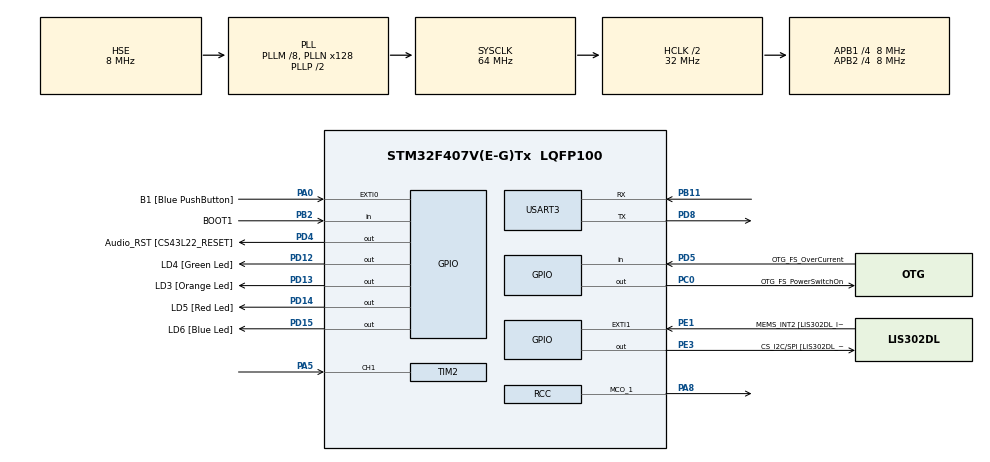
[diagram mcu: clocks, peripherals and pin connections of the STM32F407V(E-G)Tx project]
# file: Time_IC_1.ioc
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Mcu.Family=STM32F4
Mcu.Name=STM32F407V(E-G)Tx
Mcu.Package=LQFP100
NVIC.PriorityGroup=NVIC_PRIORITYGROUP_2
NVIC.TIM2_IRQn=true\:0\:0\:true\:true\:true\:2\:true\:true
NVIC.TIM6_DAC_IRQn=true\:0\:0\:true\:true\:true\:1\:true\:true
PA0-WKUP.GPIO_Label=B1 [Blue PushButton]
PA0-WKUP.Signal=GPXTI0
PA10.GPIO_Label=OTG_FS_ID
PA10.GPIO_Mode=GPIO_MODE_AF_PP
PA10.GPIO_PuPd=GPIO_NOPULL
PA10.GPIO_Speed=GPIO_SPEED_FREQ_LOW
PA10.Signal=USB_OTG_FS_ID
PA11.GPIO_Label=OTG_FS_DM
PA11.GPIO_Mode=GPIO_MODE_AF_PP
PA11.GPIO_PuPd=GPIO_NOPULL
PA11.GPIO_Speed=GPIO_SPEED_FREQ_LOW
PA11.Signal=USB_OTG_FS_DM
PA12.GPIO_Label=OTG_FS_DP
PA12.GPIO_Mode=GPIO_MODE_AF_PP
PA12.GPIO_PuPd=GPIO_NOPULL
PA12.GPIO_Speed=GPIO_SPEED_FREQ_LOW
PA12.Signal=USB_OTG_FS_DP
PA13.GPIO_Label=SWDIO
PA13.Signal=SYS_JTMS-SWDIO
PA14.GPIO_Label=SWCLK
PA14.Signal=SYS_JTCK-SWCLK
PA4.GPIO_Label=I2S3_WS [CS43L22_LRCK]
PA4.GPIO_Mode=GPIO_MODE_AF_PP
PA4.GPIO_PuPd=GPIO_NOPULL
PA4.GPIO_Speed=GPIO_SPEED_FREQ_LOW
PA4.Signal=I2S3_WS
PA5.Signal=S_TIM2_CH1_ETR
PA6.GPIO_Label=SPI1_MISO [LIS302DL_SDO]
PA6.GPIO_Mode=GPIO_MODE_AF_PP
PA6.GPIO_PuPd=GPIO_NOPULL
PA6.GPIO_Speed=GPIO_SPEED_FREQ_LOW
PA6.Signal=SPI1_MISO
PA7.GPIO_Label=SPI1_MOSI [LIS302DL_SDA/SDI/SDO]
PA7.GPIO_Mode=GPIO_MODE_AF_PP
PA7.GPIO_PuPd=GPIO_NOPULL
PA7.GPIO_Speed=GPIO_SPEED_FREQ_LOW
PA7.Signal=SPI1_MOSI
PA8.Mode=Clock-out-1
PA8.Signal=RCC_MCO_1
PA9.GPIO_Label=VBUS_FS
PA9.GPIO_Mode=GPIO_MODE_INPUT
PA9.GPIO_PuPd=GPIO_NOPULL
PA9.Signal=USB_OTG_FS_VBUS
PB10.GPIO_Label=CLK_IN [MP45DT02_CLK]
PB10.GPIO_Mode=GPIO_MODE_AF_PP
PB10.GPIO_PuPd=GPIO_NOPULL
PB10.GPIO_Speed=GPIO_SPEED_FREQ_LOW
PB10.Signal=I2S2_CK
PB11.Mode=Asynchronous
PB11.Signal=USART3_RX
PB2.GPIO_Label=BOOT1
PB2.GPIO_Mode=GPIO_MODE_INPUT
PB2.GPIO_PuPd=GPIO_NOPULL
PB2.Signal=GPIO_Input
PB3.GPIO_Label=SWO
PB3.Signal=SYS_JTDO-SWO
PB6.GPIO_Label=Audio_SCL [CS43L22_SCL]
PB6.GPIO_Mode=GPIO_MODE_AF_OD
PB6.GPIO_PuPd=GPIO_NOPULL
PB6.GPIO_Speed=GPIO_SPEED_FREQ_LOW
PB6.Signal=I2C1_SCL
PB9.GPIO_Label=Audio_SDA [CS43L22_SDA]
PB9.GPIO_Mode=GPIO_MODE_AF_OD
PB9.GPIO_PuPd=GPIO_NOPULL
PB9.GPIO_Speed=GPIO_SPEED_FREQ_LOW
PB9.Signal=I2C1_SDA
PC0.GPIO_Label=OTG_FS_PowerSwitchOn
PC0.GPIO_PuPd=GPIO_NOPULL
PC0.GPIO_Speed=GPIO_SPEED_FREQ_LOW
PC0.PinState=GPIO_PIN_SET
PC0.Signal=GPIO_Output
PC10.GPIO_Label=I2S3_SCK [CS43L22_SCLK]
PC10.GPIO_Mode=GPIO_MODE_AF_PP
PC10.GPIO_PuPd=GPIO_NOPULL
PC10.GPIO_Speed=GPIO_SPEED_FREQ_LOW
PC10.Signal=I2S3_CK
PC12.GPIO_Label=I2S3_SD [CS43L22_SDIN]
PC12.GPIO_Mode=GPIO_MODE_AF_PP
PC12.GPIO_PuPd=GPIO_NOPULL
PC12.GPIO_Speed=GPIO_SPEED_FREQ_LOW
PC12.Signal=I2S3_SD
PC14-OSC32_IN.GPIO_Label=PC14-OSC32_IN
PC14-OSC32_IN.Mode=LSE-External-Oscillator
PC14-OSC32_IN.Signal=RCC_OSC32_IN
PC15-OSC32_OUT.GPIO_Label=PC15-OSC32_OUT
PC15-OSC32_OUT.Mode=LSE-External-Oscillator
PC15-OSC32_OUT.Signal=RCC_OSC32_OUT
PC3.GPIO_Label=PDM_OUT [MP45DT02_DOUT]
PC3.GPIO_Mode=GPIO_MODE_AF_PP
PC3.GPIO_PuPd=GPIO_NOPULL
PC3.GPIO_Speed=GPIO_SPEED_FREQ_LOW
PC3.Signal=I2S2_SD
PC7.GPIO_Label=I2S3_MCK [CS43L22_MCLK]
PC7.GPIO_Mode=GPIO_MODE_AF_PP
PC7.GPIO_PuPd=GPIO_NOPULL
PC7.GPIO_Speed=GPIO_SPEED_FREQ_LOW
PC7.Signal=I2S3_MCK
PD12.GPIO_Label=LD4 [Green Led]
PD12.GPIO_PuPd=GPIO_NOPULL
PD12.GPIO_Speed=GPIO_SPEED_FREQ_LOW
PD12.Signal=GPIO_Output
PD13.GPIO_Label=LD3 [Orange Led]
PD13.GPIO_PuPd=GPIO_NOPULL
PD13.GPIO_Speed=GPIO_SPEED_FREQ_LOW
PD13.Signal=GPIO_Output
PD14.GPIO_Label=LD5 [Red Led]
PD14.GPIO_PuPd=GPIO_NOPULL
PD14.GPIO_Speed=GPIO_SPEED_FREQ_LOW
PD14.Signal=GPIO_Output
PD15.GPIO_Label=LD6 [Blue Led]
PD15.GPIO_PuPd=GPIO_NOPULL
PD15.GPIO_Speed=GPIO_SPEED_FREQ_LOW
PD15.Signal=GPIO_Output
PD4.GPIO_Label=Audio_RST [CS43L22_RESET]
PD4.GPIO_PuPd=GPIO_NOPULL
PD4.GPIO_Speed=GPIO_SPEED_FREQ_LOW
PD4.Signal=GPIO_Output
PD5.GPIO_Label=OTG_FS_OverCurrent
PD5.GPIO_Mode=GPIO_MODE_INPUT
PD5.GPIO_PuPd=GPIO_NOPULL
PD5.Signal=GPIO_Input
PD8.Mode=Asynchronous
PD8.Signal=USART3_TX
PE1.GPIO_Label=MEMS_INT2 [LIS302DL_INT2]
PE1.GPIO_ModeDefaultEXTI=GPIO_MODE_EVT_RISING
PE1.GPIO_PuPd=GPIO_NOPULL
PE1.Signal=GPXTI1
PE3.GPIO_Label=CS_I2C/SPI [LIS302DL_CS_I2C/SPI]
PE3.GPIO_PuPd=GPIO_NOPULL
PE3.GPIO_Speed=GPIO_SPEED_FREQ_LOW
PE3.Signal=GPIO_Output
PH0-OSC_IN.GPIO_Label=PH0-OSC_IN
PH0-OSC_IN.Mode=HSE-External-Oscillator
PH0-OSC_IN.Signal=RCC_OSC_IN
PH1-OSC_OUT.GPIO_Label=PH1-OSC_OUT
PH1-OSC_OUT.Mode=HSE-External-Oscillator
PH1-OSC_OUT.Signal=RCC_OSC_OUT
ProjectManager.HeapSize=0x200
ProjectManager.StackSize=0x400
ProjectManager.TargetToolchain=STM32CubeIDE
RCC.48MHZClocksFreq_Value=18285714.285714287
RCC.AHBCLKDivider=RCC_SYSCLK_DIV2
RCC.AHBFreq_Value=32000000
RCC.APB1CLKDivider=RCC_HCLK_DIV4
RCC.APB1Freq_Value=8000000
RCC.APB1TimFreq_Value=16000000
RCC.APB2CLKDivider=RCC_HCLK_DIV4
RCC.APB2Freq_Value=8000000
RCC.APB2TimFreq_Value=16000000
RCC.CortexFreq_Value=32000000
RCC.HCLKFreq_Value=32000000
RCC.HSE_VALUE=8000000
RCC.HSI_VALUE=16000000
RCC.PLLM=8
RCC.PLLN=128
RCC.PLLQ=7
RCC.PLLSourceVirtual=RCC_PLLSOURCE_HSE
RCC.RCC_MCO1Source=RCC_MCO1SOURCE_HSE
RCC.SYSCLKFreq_VALUE=64000000
RCC.SYSCLKSource=RCC_SYSCLKSOURCE_PLLCLK
RCC.VCOOutputFreq_Value=128000000
SH.S_TIM2_CH1_ETR.0=TIM2_CH1,Input_Capture1_from_TI1
TIM2.Channel-Input_Capture1_from_TI1=TIM_CHANNEL_1
TIM2.Period=0xFFFFFFFF
TIM6.Period=16665
TIM6.Prescaler=7
USART3.VirtualMode=VM_ASYNC
VP_TIM2_VS_ClockSourceINT.Mode=Internal
VP_TIM6_VS_ClockSourceINT.Mode=Enable_Timer
board=STM32F407G-DISC1

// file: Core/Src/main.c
/* USER CODE BEGIN Header */
/**
  ******************************************************************************
  * @file           : main.c
  * @brief          : Program configures and starts TIM6 in interrupt mode to generate a 60Hz signal on PD15 which can be connected to
  *					  PA5 to be received as TIM2_CH1 input channel which will calculate the frequency and send over USART3 to serial console
  *					  after every other IC capture callback event.
  *
  *					  LSE clock can be configured to be output on MCO1 (PA8) and measured by connecting to PA5.
  *					  HSE is configured by default and is too fast to be read by input channel.
  *
  *					  Connections
  *					  USART				STM32
  *					  RX		-->		PD8
  *					  5V		-->		5V
  *					  GND		-->		GND
  *
  *					  STM32				SMT32
  *					  PD15		-->		PA5
  *
  ******************************************************************************
  * @attention
  *
  * <h2><center>&copy; Copyright (c) 2020 STMicroelectronics.
  * All rights reserved.</center></h2>
  *
  * This software component is licensed by ST under BSD 3-Clause license,
  * the "License"; You may not use this file except in compliance with the
  * License. You may obtain a copy of the License at:
  *                        opensource.org/licenses/BSD-3-Clause
  *
  ******************************************************************************
  */
/* USER CODE END Header */

#include "main.h"

/* USER CODE BEGIN Includes */
#include <string.h>
#include <stdio.h>

/* USER CODE END Includes */

TIM_HandleTypeDef htim2;
TIM_HandleTypeDef htim6;

UART_HandleTypeDef huart3;

void SystemClock_Config(void);
static void MX_GPIO_Init(void);
static void MX_TIM2_Init(void);
static void MX_USART3_UART_Init(void);
static void MX_TIM6_Init(void);
static void MX_NVIC_Init(void);

/* USER CODE BEGIN 0 */

#define FALSE 0
#define TRUE 1

uint32_t input_captures[2] = {0};
uint8_t count=1;
uint8_t is_capture_done = FALSE;

uint32_t capture_difference = 0;
double timer2_cnt_freq = 0;
double timer2_cnt_res = 0;
double user_signal_time_period = 0;
double user_signal_time_freq = 0;
char user_msg[100];

/* USER CODE END 0 */

int main(void)
{

  /* MCU Configuration--------------------------------------------------------*/

  /* Reset of all peripherals, Initializes the Flash interface and the Systick. */
  HAL_Init();

  /* Configure the system clock */
  SystemClock_Config();

  /* Initialize all configured peripherals */
  MX_GPIO_Init();
  MX_TIM2_Init();
  MX_USART3_UART_Init();
  MX_TIM6_Init();

  /* Initialize interrupts */
  MX_NVIC_Init();
  /* USER CODE BEGIN 2 */

  HAL_TIM_Base_Start_IT(&htim6);

  HAL_TIM_IC_Start_IT(&htim2, TIM_CHANNEL_1);

  /* USER CODE END 2 */

  /* Infinite loop */
  while (1)
  {

    /* USER CODE BEGIN 3 */
	  if(is_capture_done) {
		  if(input_captures[1] > input_captures[0]) {
			  capture_difference = input_captures[1] - input_captures[0];
		  } else {
			  capture_difference = (0xFFFFFFFF - input_captures[0]) + input_captures[1];
		  }

		  timer2_cnt_freq = (HAL_RCC_GetPCLK1Freq()*2) / (htim2.Init.Prescaler+1);
		  timer2_cnt_res = 1/timer2_cnt_freq;
		  user_signal_time_period = capture_difference * timer2_cnt_res;
		  user_signal_time_freq = 1 / user_signal_time_period;

		  sprintf(user_msg, "Frequency of the signal applied = %f\r\n", user_signal_time_freq);
		  HAL_UART_Transmit(&huart3, (uint8_t *)user_msg, strlen(user_msg), HAL_MAX_DELAY);

		  is_capture_done = FALSE;
		  HAL_TIM_IC_Start_IT(&htim2, TIM_CHANNEL_1);
	  }
  }
  /* USER CODE END 3 */
}

void SystemClock_Config(void)
{
  RCC_OscInitTypeDef RCC_OscInitStruct = {0};
  RCC_ClkInitTypeDef RCC_ClkInitStruct = {0};

  /** Configure the main internal regulator output voltage
  */
  __HAL_RCC_PWR_CLK_ENABLE();
  __HAL_PWR_VOLTAGESCALING_CONFIG(PWR_REGULATOR_VOLTAGE_SCALE1);
  /** Initializes the CPU, AHB and APB busses clocks
  */
  RCC_OscInitStruct.OscillatorType = RCC_OSCILLATORTYPE_HSE;
  RCC_OscInitStruct.HSEState = RCC_HSE_ON;
  RCC_OscInitStruct.PLL.PLLState = RCC_PLL_ON;
  RCC_OscInitStruct.PLL.PLLSource = RCC_PLLSOURCE_HSE;
  RCC_OscInitStruct.PLL.PLLM = 8;
  RCC_OscInitStruct.PLL.PLLN = 128;
  RCC_OscInitStruct.PLL.PLLP = RCC_PLLP_DIV2;
  RCC_OscInitStruct.PLL.PLLQ = 7;
  if (HAL_RCC_OscConfig(&RCC_OscInitStruct) != HAL_OK)
  {
    Error_Handler();
  }
  /** Initializes the CPU, AHB and APB busses clocks
  */
  RCC_ClkInitStruct.ClockType = RCC_CLOCKTYPE_HCLK|RCC_CLOCKTYPE_SYSCLK
                              |RCC_CLOCKTYPE_PCLK1|RCC_CLOCKTYPE_PCLK2;
  RCC_ClkInitStruct.SYSCLKSource = RCC_SYSCLKSOURCE_PLLCLK;
  RCC_ClkInitStruct.AHBCLKDivider = RCC_SYSCLK_DIV2;
  RCC_ClkInitStruct.APB1CLKDivider = RCC_HCLK_DIV4;
  RCC_ClkInitStruct.APB2CLKDivider = RCC_HCLK_DIV4;

  if (HAL_RCC_ClockConfig(&RCC_ClkInitStruct, FLASH_LATENCY_1) != HAL_OK)
  {
    Error_Handler();
  }
  HAL_RCC_MCOConfig(RCC_MCO1, RCC_MCO1SOURCE_HSE, RCC_MCODIV_1);
}

/**
  * @brief NVIC Configuration.
  * @retval None
  */
static void MX_NVIC_Init(void)
{
  /* TIM6_DAC_IRQn interrupt configuration */
  HAL_NVIC_SetPriority(TIM6_DAC_IRQn, 0, 0);
  HAL_NVIC_EnableIRQ(TIM6_DAC_IRQn);
  /* TIM2_IRQn interrupt configuration */
  HAL_NVIC_SetPriority(TIM2_IRQn, 0, 0);
  HAL_NVIC_EnableIRQ(TIM2_IRQn);
}

static void MX_TIM2_Init(void)
{

  TIM_ClockConfigTypeDef sClockSourceConfig = {0};
  TIM_MasterConfigTypeDef sMasterConfig = {0};
  TIM_IC_InitTypeDef sConfigIC = {0};

  htim2.Instance = TIM2;
  htim2.Init.Prescaler = 0;
  htim2.Init.CounterMode = TIM_COUNTERMODE_UP;
  htim2.Init.Period = 0xFFFFFFFF;
  htim2.Init.ClockDivision = TIM_CLOCKDIVISION_DIV1;
  htim2.Init.AutoReloadPreload = TIM_AUTORELOAD_PRELOAD_DISABLE;
  if (HAL_TIM_Base_Init(&htim2) != HAL_OK)
  {
    Error_Handler();
  }
  sClockSourceConfig.ClockSource = TIM_CLOCKSOURCE_INTERNAL;
  if (HAL_TIM_ConfigClockSource(&htim2, &sClockSourceConfig) != HAL_OK)
  {
    Error_Handler();
  }
  if (HAL_TIM_IC_Init(&htim2) != HAL_OK)
  {
    Error_Handler();
  }
  sMasterConfig.MasterOutputTrigger = TIM_TRGO_RESET;
  sMasterConfig.MasterSlaveMode = TIM_MASTERSLAVEMODE_DISABLE;
  if (HAL_TIMEx_MasterConfigSynchronization(&htim2, &sMasterConfig) != HAL_OK)
  {
    Error_Handler();
  }
  sConfigIC.ICPolarity = TIM_INPUTCHANNELPOLARITY_RISING;
  sConfigIC.ICSelection = TIM_ICSELECTION_DIRECTTI;
  sConfigIC.ICPrescaler = TIM_ICPSC_DIV1;
  sConfigIC.ICFilter = 0;
  if (HAL_TIM_IC_ConfigChannel(&htim2, &sConfigIC, TIM_CHANNEL_1) != HAL_OK)
  {
    Error_Handler();
  }

}

static void MX_TIM6_Init(void)
{

  TIM_MasterConfigTypeDef sMasterConfig = {0};

  htim6.Instance = TIM6;
  htim6.Init.Prescaler = 7;
  htim6.Init.CounterMode = TIM_COUNTERMODE_UP;
  htim6.Init.Period = 16665;
  htim6.Init.AutoReloadPreload = TIM_AUTORELOAD_PRELOAD_DISABLE;
  if (HAL_TIM_Base_Init(&htim6) != HAL_OK)
  {
    Error_Handler();
  }
  sMasterConfig.MasterOutputTrigger = TIM_TRGO_RESET;
  sMasterConfig.MasterSlaveMode = TIM_MASTERSLAVEMODE_DISABLE;
  if (HAL_TIMEx_MasterConfigSynchronization(&htim6, &sMasterConfig) != HAL_OK)
  {
    Error_Handler();
  }

}

static void MX_USART3_UART_Init(void)
{

  huart3.Instance = USART3;
  huart3.Init.BaudRate = 115200;
  huart3.Init.WordLength = UART_WORDLENGTH_8B;
  huart3.Init.StopBits = UART_STOPBITS_1;
  huart3.Init.Parity = UART_PARITY_NONE;
  huart3.Init.Mode = UART_MODE_TX_RX;
  huart3.Init.HwFlowCtl = UART_HWCONTROL_NONE;
  huart3.Init.OverSampling = UART_OVERSAMPLING_16;
  if (HAL_UART_Init(&huart3) != HAL_OK)
  {
    Error_Handler();
  }

}

static void MX_GPIO_Init(void)
{
  GPIO_InitTypeDef GPIO_InitStruct = {0};

  /* GPIO Ports Clock Enable */
  __HAL_RCC_GPIOE_CLK_ENABLE();
  __HAL_RCC_GPIOC_CLK_ENABLE();
  __HAL_RCC_GPIOH_CLK_ENABLE();
  __HAL_RCC_GPIOA_CLK_ENABLE();
  __HAL_RCC_GPIOB_CLK_ENABLE();
  __HAL_RCC_GPIOD_CLK_ENABLE();

  /*Configure GPIO pin Output Level */
  HAL_GPIO_WritePin(CS_I2C_SPI_GPIO_Port, CS_I2C_SPI_Pin, GPIO_PIN_RESET);

  /*Configure GPIO pin Output Level */
  HAL_GPIO_WritePin(OTG_FS_PowerSwitchOn_GPIO_Port, OTG_FS_PowerSwitchOn_Pin, GPIO_PIN_SET);

  /*Configure GPIO pin Output Level */
  HAL_GPIO_WritePin(GPIOD, LD4_Pin|LD3_Pin|LD5_Pin|LD6_Pin
                          |Audio_RST_Pin, GPIO_PIN_RESET);

  /*Configure GPIO pin : CS_I2C_SPI_Pin */
  GPIO_InitStruct.Pin = CS_I2C_SPI_Pin;
  GPIO_InitStruct.Mode = GPIO_MODE_OUTPUT_PP;
  GPIO_InitStruct.Pull = GPIO_NOPULL;
  GPIO_InitStruct.Speed = GPIO_SPEED_FREQ_LOW;
  HAL_GPIO_Init(CS_I2C_SPI_GPIO_Port, &GPIO_InitStruct);

  /*Configure GPIO pin : OTG_FS_PowerSwitchOn_Pin */
  GPIO_InitStruct.Pin = OTG_FS_PowerSwitchOn_Pin;
  GPIO_InitStruct.Mode = GPIO_MODE_OUTPUT_PP;
  GPIO_InitStruct.Pull = GPIO_NOPULL;
  GPIO_InitStruct.Speed = GPIO_SPEED_FREQ_LOW;
  HAL_GPIO_Init(OTG_FS_PowerSwitchOn_GPIO_Port, &GPIO_InitStruct);

  /*Configure GPIO pin : PDM_OUT_Pin */
  GPIO_InitStruct.Pin = PDM_OUT_Pin;
  GPIO_InitStruct.Mode = GPIO_MODE_AF_PP;
  GPIO_InitStruct.Pull = GPIO_NOPULL;
  GPIO_InitStruct.Speed = GPIO_SPEED_FREQ_LOW;
  GPIO_InitStruct.Alternate = GPIO_AF5_SPI2;
  HAL_GPIO_Init(PDM_OUT_GPIO_Port, &GPIO_InitStruct);

  /*Configure GPIO pin : B1_Pin */
  GPIO_InitStruct.Pin = B1_Pin;
  GPIO_InitStruct.Mode = GPIO_MODE_IT_RISING;
  GPIO_InitStruct.Pull = GPIO_NOPULL;
  HAL_GPIO_Init(B1_GPIO_Port, &GPIO_InitStruct);

  /*Configure GPIO pin : I2S3_WS_Pin */
  GPIO_InitStruct.Pin = I2S3_WS_Pin;
  GPIO_InitStruct.Mode = GPIO_MODE_AF_PP;
  GPIO_InitStruct.Pull = GPIO_NOPULL;
  GPIO_InitStruct.Speed = GPIO_SPEED_FREQ_LOW;
  GPIO_InitStruct.Alternate = GPIO_AF6_SPI3;
  HAL_GPIO_Init(I2S3_WS_GPIO_Port, &GPIO_InitStruct);

  /*Configure GPIO pins : SPI1_MISO_Pin SPI1_MOSI_Pin */
  GPIO_InitStruct.Pin = SPI1_MISO_Pin|SPI1_MOSI_Pin;
  GPIO_InitStruct.Mode = GPIO_MODE_AF_PP;
  GPIO_InitStruct.Pull = GPIO_NOPULL;
  GPIO_InitStruct.Speed = GPIO_SPEED_FREQ_LOW;
  GPIO_InitStruct.Alternate = GPIO_AF5_SPI1;
  HAL_GPIO_Init(GPIOA, &GPIO_InitStruct);

  /*Configure GPIO pin : BOOT1_Pin */
  GPIO_InitStruct.Pin = BOOT1_Pin;
  GPIO_InitStruct.Mode = GPIO_MODE_INPUT;
  GPIO_InitStruct.Pull = GPIO_NOPULL;
  HAL_GPIO_Init(BOOT1_GPIO_Port, &GPIO_InitStruct);

  /*Configure GPIO pin : CLK_IN_Pin */
  GPIO_InitStruct.Pin = CLK_IN_Pin;
  GPIO_InitStruct.Mode = GPIO_MODE_AF_PP;
  GPIO_InitStruct.Pull = GPIO_NOPULL;
  GPIO_InitStruct.Speed = GPIO_SPEED_FREQ_LOW;
  GPIO_InitStruct.Alternate = GPIO_AF5_SPI2;
  HAL_GPIO_Init(CLK_IN_GPIO_Port, &GPIO_InitStruct);

  /*Configure GPIO pins : LD4_Pin LD3_Pin LD5_Pin LD6_Pin
                           Audio_RST_Pin */
  GPIO_InitStruct.Pin = LD4_Pin|LD3_Pin|LD5_Pin|LD6_Pin
                          |Audio_RST_Pin;
  GPIO_InitStruct.Mode = GPIO_MODE_OUTPUT_PP;
  GPIO_InitStruct.Pull = GPIO_NOPULL;
  GPIO_InitStruct.Speed = GPIO_SPEED_FREQ_LOW;
  HAL_GPIO_Init(GPIOD, &GPIO_InitStruct);

  /*Configure GPIO pins : I2S3_MCK_Pin I2S3_SCK_Pin I2S3_SD_Pin */
  GPIO_InitStruct.Pin = I2S3_MCK_Pin|I2S3_SCK_Pin|I2S3_SD_Pin;
  GPIO_InitStruct.Mode = GPIO_MODE_AF_PP;
  GPIO_InitStruct.Pull = GPIO_NOPULL;
  GPIO_InitStruct.Speed = GPIO_SPEED_FREQ_LOW;
  GPIO_InitStruct.Alternate = GPIO_AF6_SPI3;
  HAL_GPIO_Init(GPIOC, &GPIO_InitStruct);

  /*Configure GPIO pin : PA8 */
  GPIO_InitStruct.Pin = GPIO_PIN_8;
  GPIO_InitStruct.Mode = GPIO_MODE_AF_PP;
  GPIO_InitStruct.Pull = GPIO_NOPULL;
  GPIO_InitStruct.Speed = GPIO_SPEED_FREQ_LOW;
  GPIO_InitStruct.Alternate = GPIO_AF0_MCO;
  HAL_GPIO_Init(GPIOA, &GPIO_InitStruct);

  /*Configure GPIO pin : VBUS_FS_Pin */
  GPIO_InitStruct.Pin = VBUS_FS_Pin;
  GPIO_InitStruct.Mode = GPIO_MODE_INPUT;
  GPIO_InitStruct.Pull = GPIO_NOPULL;
  HAL_GPIO_Init(VBUS_FS_GPIO_Port, &GPIO_InitStruct);

  /*Configure GPIO pins : OTG_FS_ID_Pin OTG_FS_DM_Pin OTG_FS_DP_Pin */
  GPIO_InitStruct.Pin = OTG_FS_ID_Pin|OTG_FS_DM_Pin|OTG_FS_DP_Pin;
  GPIO_InitStruct.Mode = GPIO_MODE_AF_PP;
  GPIO_InitStruct.Pull = GPIO_NOPULL;
  GPIO_InitStruct.Speed = GPIO_SPEED_FREQ_LOW;
  GPIO_InitStruct.Alternate = GPIO_AF10_OTG_FS;
  HAL_GPIO_Init(GPIOA, &GPIO_InitStruct);

  /*Configure GPIO pin : OTG_FS_OverCurrent_Pin */
  GPIO_InitStruct.Pin = OTG_FS_OverCurrent_Pin;
  GPIO_InitStruct.Mode = GPIO_MODE_INPUT;
  GPIO_InitStruct.Pull = GPIO_NOPULL;
  HAL_GPIO_Init(OTG_FS_OverCurrent_GPIO_Port, &GPIO_InitStruct);

  /*Configure GPIO pins : Audio_SCL_Pin Audio_SDA_Pin */
  GPIO_InitStruct.Pin = Audio_SCL_Pin|Audio_SDA_Pin;
  GPIO_InitStruct.Mode = GPIO_MODE_AF_OD;
  GPIO_InitStruct.Pull = GPIO_PULLUP;
  GPIO_InitStruct.Speed = GPIO_SPEED_FREQ_LOW;
  GPIO_InitStruct.Alternate = GPIO_AF4_I2C1;
  HAL_GPIO_Init(GPIOB, &GPIO_InitStruct);

  /*Configure GPIO pin : MEMS_INT2_Pin */
  GPIO_InitStruct.Pin = MEMS_INT2_Pin;
  GPIO_InitStruct.Mode = GPIO_MODE_EVT_RISING;
  GPIO_InitStruct.Pull = GPIO_NOPULL;
  HAL_GPIO_Init(MEMS_INT2_GPIO_Port, &GPIO_InitStruct);

}

/* USER CODE BEGIN 4 */
/**
  * @brief  Input Capture callback in non-blocking mode
  * @param  htim TIM IC handle
  * @retval None
  */
void HAL_TIM_IC_CaptureCallback(TIM_HandleTypeDef *htim) {
	if(!is_capture_done) {
		if(count == 1) {
			input_captures[0] = HAL_TIM_ReadCapturedValue(&htim2, TIM_CHANNEL_1 );
			count++;
		} else if(count == 2) {
			input_captures[1] = HAL_TIM_ReadCapturedValue(&htim2, TIM_CHANNEL_1 );
			HAL_TIM_IC_Stop_IT(htim, TIM_CHANNEL_1);
			count=1;
			is_capture_done = TRUE;
		}
	}
}
/* USER CODE END 4 */

void Error_Handler(void)
{
}

/************************ (C) COPYRIGHT STMicroelectronics *****END OF FILE****/
